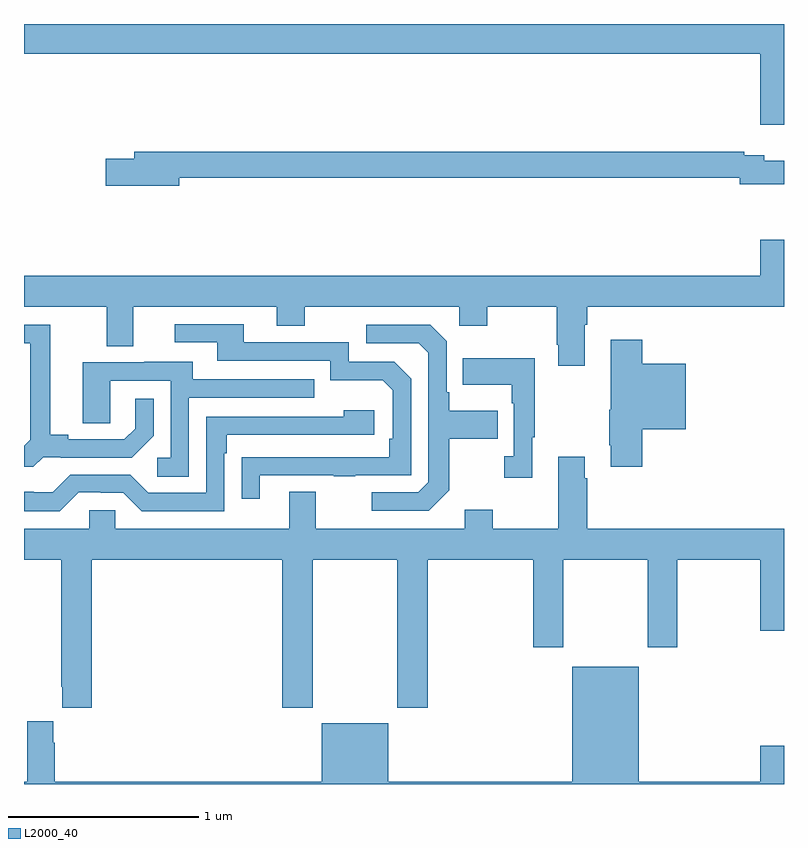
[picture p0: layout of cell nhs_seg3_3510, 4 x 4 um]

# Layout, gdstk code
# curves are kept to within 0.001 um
import gdstk
lib = gdstk.Library(unit=1e-6, precision=1e-09)
def P(c, l, *ps):  # polygons
    for p in ps: c.add(gdstk.Polygon(p, *l))
L2000_40 = (2000, 40)

nhs_seg3_3510 = lib.new_cell('nhs_seg3_3510')
P(nhs_seg3_3510, L2000_40, [(297,706.4),(293,706.4),(293,706.244),(296.876,706.244),(296.876,705.87),(297,705.87)],
  [(293.818,705.592),(296.768,705.592),(296.768,705.557),(297,705.557),(297,705.679),(296.896,705.679),(296.896,705.708),(296.792,705.708),(296.792,705.728),(293.579,705.728),(293.579,705.692),(293.43,705.692),(293.43,705.55),(293.818,705.55)],
  [(295.951,704.816),(295.964,704.816),(295.964,704.912),(297,704.912),(297,705.265),(296.876,705.265),(296.876,705.076),(293,705.076),(293,704.912),(293.435,704.912),(293.435,704.704),(293.575,704.704),(293.575,704.912),(294.329,704.912),(294.329,704.813),(294.477,704.813),(294.477,704.912),(295.29,704.912),(295.29,704.813),(295.437,704.813),(295.437,704.912),(295.804,704.912),(295.804,704.713),(295.811,704.713),(295.811,704.601),(295.951,704.601)],
  [(294.241,704.025),(294.631,704.025),(294.631,704.02),(294.743,704.02),(294.743,704.025),(295.038,704.025),(295.038,704.532),(294.948,704.622),(294.708,704.622),(294.708,704.724),(294.157,704.724),(294.157,704.82),(293.793,704.82),(293.793,704.724),(294.017,704.724),(294.017,704.628),(294.612,704.628),(294.612,704.525),(294.889,704.525),(294.942,704.472),(294.942,704.218),(294.922,704.218),(294.922,704.121),(294.145,704.12),(294.145,703.902),(294.241,703.902)],
  [(295.237,703.945),(295.237,704.218),(295.493,704.218),(295.493,704.365),(295.237,704.365),(295.237,704.461),(295.224,704.461),(295.224,704.73),(295.137,704.817),(294.801,704.817),(294.801,704.721),(295.077,704.721),(295.128,704.67),(295.128,703.989),(295.074,703.935),(294.831,703.935),(294.831,703.839),(295.131,703.839)],
  [(293.1,704.121),(293.194,704.121),(293.194,704.118),(293.566,704.118),(293.682,704.234),(293.682,704.428),(293.585,704.428),(293.585,704.271),(293.528,704.214),(293.233,704.214),(293.233,704.237),(293.137,704.237),(293.137,704.817),(293,704.817),(293,704.721),(293.033,704.721),(293.033,704.213),(293,704.18),(293,704.069),(293.048,704.069)],
  [(296.255,704.267),(296.482,704.267),(296.482,704.611),(296.255,704.611),(296.255,704.737),(296.087,704.737),(296.087,704.371),(296.08,704.371),(296.08,704.182),(296.087,704.182),(296.087,704.07),(296.255,704.07)],
  [(295.675,704.225),(295.687,704.225),(295.687,704.641),(295.309,704.641),(295.309,704.501),(295.566,704.501),(295.566,704.405),(295.578,704.405),(295.578,704.126),(295.527,704.126),(295.527,704.013),(295.675,704.013)],
  [(293.868,704.433),(294.527,704.433),(294.527,704.529),(293.887,704.529),(293.887,704.623),(293.633,704.623),(293.633,704.619),(293.309,704.619),(293.309,704.299),(293.454,704.299),(293.454,704.523),(293.772,704.523),(293.772,704.118),(293.7,704.118),(293.7,704.017),(293.868,704.017)],
  [(293.289,703.935),(293.405,703.935),(293.405,703.932),(293.523,703.932),(293.619,703.836),(294.054,703.836),(294.054,704.141),(294.067,704.141),(294.067,704.238),(294.844,704.238),(294.844,704.368),(294.683,704.368),(294.683,704.334),(293.958,704.334),(293.958,703.932),(293.655,703.932),(293.559,704.028),(293.244,704.028),(293.151,703.935),(293.051,703.935),(293.051,703.939),(293,703.939),(293,703.835),(293.189,703.835)],
  [(293.357,703.58),(294.359,703.58),(294.359,702.801),(294.519,702.801),(294.519,703.58),(294.964,703.58),(294.964,702.801),(295.124,702.801),(295.124,703.58),(295.679,703.58),(295.679,703.119),(295.839,703.119),(295.839,703.58),(296.284,703.58),(296.284,703.119),(296.439,703.119),(296.439,703.58),(296.876,703.58),(296.876,703.206),(297,703.206),(297,703.744),(295.964,703.744),(295.964,704.009),(295.951,704.009),(295.951,704.122),(295.811,704.122),(295.811,703.744),(295.467,703.744),(295.467,703.843),(295.319,703.843),(295.319,703.744),(294.535,703.744),(294.535,703.939),(294.395,703.939),(294.395,703.744),(293.481,703.744),(293.481,703.842),(293.343,703.842),(293.343,703.744),(293,703.744),(293,703.58),(293.197,703.58),(293.197,702.913),(293.201,702.913),(293.201,702.801),(293.357,702.801)],
  [(297,702.601),(296.876,702.601),(296.876,702.412),(296.236,702.412),(296.236,703.018),(295.886,703.018),(295.886,702.412),(294.916,702.412),(294.916,702.721),(294.566,702.721),(294.566,702.412),(293.162,702.412),(293.162,702.617),(293.155,702.617),(293.155,702.73),(293.018,702.73),(293.018,702.412),(293,702.412),(293,702.4),(297,702.4)])

lib.write_gds('nhs_seg3_3510.gds')
